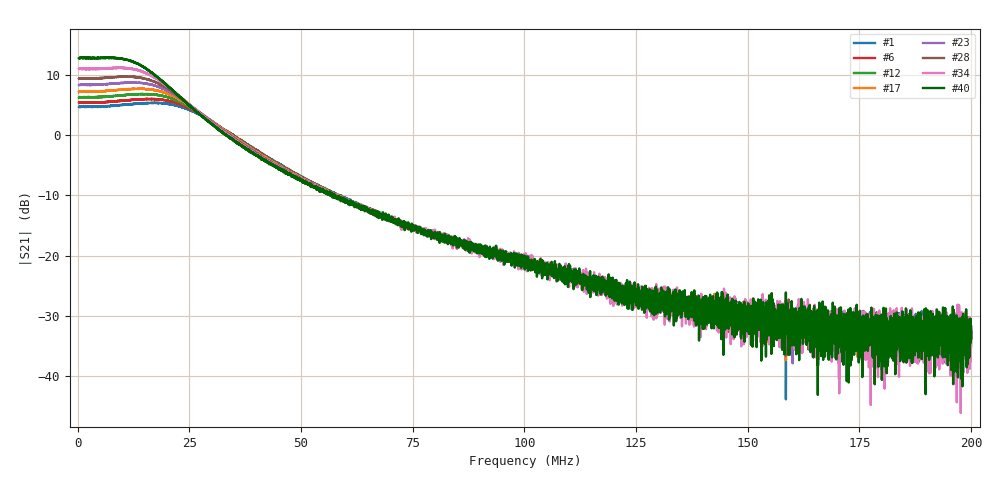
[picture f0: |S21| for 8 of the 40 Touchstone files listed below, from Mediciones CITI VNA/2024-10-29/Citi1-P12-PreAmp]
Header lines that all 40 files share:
# Hz S DB R 50
! CMT, M5065, 19127446, 24.2.4/2
! Data: Format (Calibration Info)
! Freq	S11:dB/Ang(F2)	S21:dB/Ang(F2)	S12:dB/Ang(F2)	S22:dB/Ang(F2)
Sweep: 300 kHz to 200 MHz
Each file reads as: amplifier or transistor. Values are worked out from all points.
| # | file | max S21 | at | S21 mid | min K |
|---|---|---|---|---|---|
| 1 | ganancia_0.s2p | 5.4 dB | 17.34 MHz | -20.8 dB at 100.2 MHz | 14.62 |
| 2 | ganancia_1.s2p | 5.5 dB | 17.32 MHz | -21.0 dB at 100.2 MHz | 14.28 |
| 3 | ganancia_2.s2p | 5.6 dB | 16.39 MHz | -20.7 dB at 100.2 MHz | 15.85 |
| 4 | ganancia_3.s2p | 5.7 dB | 16.74 MHz | -21.6 dB at 100.2 MHz | 14.47 |
| 5 | ganancia_4.s2p | 5.9 dB | 15.63 MHz | -21.4 dB at 100.2 MHz | 11.72 |
| 6 | ganancia_5.s2p | 6.1 dB | 16.46 MHz | -21.0 dB at 100.2 MHz | 12.64 |
| 7 | ganancia_6.s2p | 6.2 dB | 16.72 MHz | -20.9 dB at 100.2 MHz | 13.21 |
| 8 | ganancia_7.s2p | 6.3 dB | 14.77 MHz | -20.8 dB at 100.2 MHz | 12.78 |
| 9 | ganancia_8.s2p | 6.5 dB | 16.08 MHz | -21.0 dB at 100.2 MHz | 12.25 |
| 10 | ganancia_9.s2p | 6.6 dB | 15.1 MHz | -21.6 dB at 100.2 MHz | 9.97 |
| 11 | ganancia_10.s2p | 6.7 dB | 14.3 MHz | -20.9 dB at 100.2 MHz | 12.60 |
| 12 | ganancia_11.s2p | 6.9 dB | 14.61 MHz | -20.3 dB at 100.2 MHz | 11.61 |
| 13 | ganancia_12.s2p | 7.1 dB | 15.12 MHz | -21.2 dB at 100.2 MHz | 11.20 |
| 14 | ganancia_13.s2p | 7.2 dB | 13.77 MHz | -21.3 dB at 100.2 MHz | 13.47 |
| 15 | ganancia_14.s2p | 7.3 dB | 14.1 MHz | -21.4 dB at 100.2 MHz | 11.49 |
| 16 | ganancia_15.s2p | 7.5 dB | 13.73 MHz | -20.8 dB at 100.2 MHz | 11.47 |
| 17 | ganancia_16.s2p | 7.7 dB | 14.28 MHz | -20.8 dB at 100.2 MHz | 9.99 |
| 18 | ganancia_17.s2p | 7.9 dB | 13.37 MHz | -21.2 dB at 100.2 MHz | 10.27 |
| 19 | ganancia_18.s2p | 8.0 dB | 13.15 MHz | -21.1 dB at 100.2 MHz | 10.29 |
| 20 | ganancia_19.s2p | 8.2 dB | 13.06 MHz | -21.0 dB at 100.2 MHz | 9.53 |
| 21 | ganancia_20.s2p | 8.5 dB | 13.02 MHz | -20.9 dB at 100.2 MHz | 9.13 |
| 22 | ganancia_21.s2p | 8.6 dB | 13.04 MHz | -21.1 dB at 100.2 MHz | 9.35 |
| 23 | ganancia_22.s2p | 8.8 dB | 11.8 MHz | -20.9 dB at 100.2 MHz | 9.55 |
| 24 | ganancia_23.s2p | 9.0 dB | 11.77 MHz | -21.0 dB at 100.2 MHz | 10.74 |
| 25 | ganancia_24.s2p | 9.2 dB | 12.24 MHz | -21.2 dB at 100.2 MHz | 8.10 |
| 26 | ganancia_25.s2p | 9.4 dB | 11.28 MHz | -21.4 dB at 100.2 MHz | 8.05 |
| 27 | ganancia_26.s2p | 9.6 dB | 11.37 MHz | -21.2 dB at 100.2 MHz | 7.78 |
| 28 | ganancia_27.s2p | 9.8 dB | 10.18 MHz | -21.1 dB at 100.2 MHz | 7.14 |
| 29 | ganancia_28.s2p | 10.1 dB | 10.64 MHz | -21.3 dB at 100.2 MHz | 7.46 |
| 30 | ganancia_29.s2p | 10.3 dB | 10.2 MHz | -21.4 dB at 100.2 MHz | 3.27 |
| 31 | ganancia_30.s2p | 10.5 dB | 10.49 MHz | -21.9 dB at 100.2 MHz | 4.03 |
| 32 | ganancia_31.s2p | 10.7 dB | 9.754 MHz | -21.5 dB at 100.2 MHz | 4.17 |
| 33 | ganancia_32.s2p | 11.0 dB | 9.554 MHz | -20.8 dB at 100.2 MHz | 4.79 |
| 34 | ganancia_33.s2p | 11.2 dB | 8.489 MHz | -20.4 dB at 100.2 MHz | 3.93 |
| 35 | ganancia_34.s2p | 11.5 dB | 8.777 MHz | -20.7 dB at 100.2 MHz | 3.37 |
| 36 | ganancia_35.s2p | 11.8 dB | 8.289 MHz | -20.8 dB at 100.2 MHz | 2.71 |
| 37 | ganancia_36.s2p | 12.1 dB | 6.824 MHz | -21.7 dB at 100.2 MHz | 3.11 |
| 38 | ganancia_37.s2p | 12.4 dB | 4.783 MHz | -20.6 dB at 100.2 MHz | 3.51 |
| 39 | ganancia_38.s2p | 12.7 dB | 2.186 MHz | -21.0 dB at 100.2 MHz | 3.37 |
| 40 | ganancia_39.s2p | 13.0 dB | 2.608 MHz | -20.1 dB at 100.2 MHz | 3.32 |
